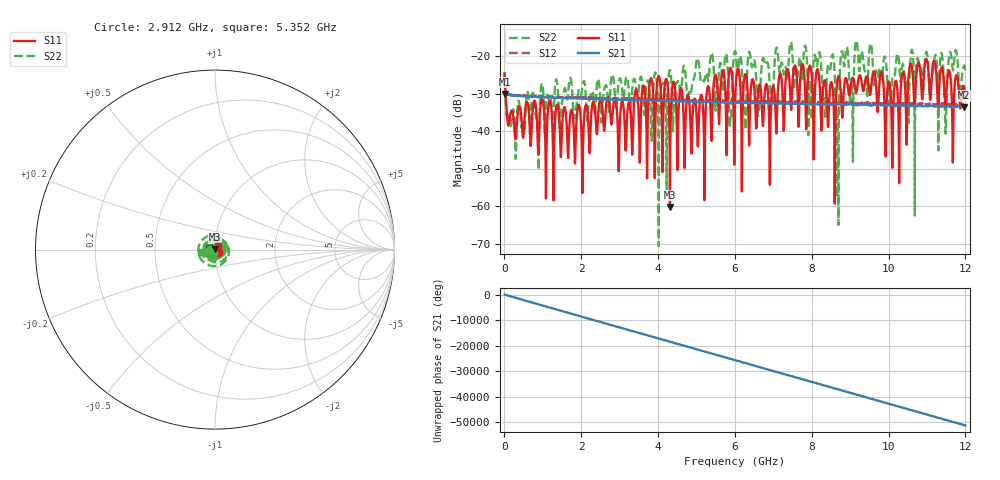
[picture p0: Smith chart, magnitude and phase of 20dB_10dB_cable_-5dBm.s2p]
!Keysight Technologies,N5242B,US61255121,A.15.50.07
!Date: Friday, October 24, 2025 17:39:20
!Correction: S11(Off)
!S21(Off)
!S12(Off)
!S22(Off)
!S2P File: Measurements: S11, S21, S12, S22:
# Hz S  dB  R 50
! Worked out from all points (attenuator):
!   11991 points, 10 MHz to 12 GHz, reference 50 ohm
!   highest |S21| = -30.09 dB at 10 MHz (marker M1); lowest = -33.6 dB at 11.97 GHz (marker M2)
!   lowest |S11| = -60.2 dB at 4.313 GHz (marker M3), VSWR 1.00, Z = 50 + j0.0916 ohm
!   |S11| at or under -10 dB: start of sweep to end of sweep
!   |S22| runs from -70.6 to -15.8 dB; largest |S21 - S12| = 0.059
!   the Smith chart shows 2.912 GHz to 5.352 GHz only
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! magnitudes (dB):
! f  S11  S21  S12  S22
! 10 MHz  -24.6  -30.1  -30.3  -24.6
! 863 MHz  -39.8  -30.9  -30.7  -37.7
! 979 MHz  -31.5  -30.9  -30.8  -27.2
! 2.009 GHz  -40.8  -31.3  -31.1  -30.1
! 4.007 GHz  -25.4  -31.9  -31.5  -37.9
! 4.313 GHz  -60.2  -31.9  -31.6  -23.7
! 5.77 GHz  -35.4  -32.4  -31.9  -19.3
! 5.885 GHz  -23.1  -32.5  -32.0  -36.5
! 6.005 GHz  -33.2  -32.4  -31.9  -18.6
! 6.255 GHz  -25.3  -32.4  -32.0  -34.4
! 6.385 GHz  -38.0  -32.4  -32.1  -18.9
! 6.615 GHz  -28.6  -32.5  -32.1  -35.4
! 7.087 GHz  -38.8  -32.6  -32.2  -17.7
! 8.004 GHz  -25.6  -32.8  -32.3  -36.2
! 8.541 GHz  -28.0  -32.9  -32.3  -19.5
! 8.667 GHz  -26.6  -32.8  -32.4  -34.0
! 8.783 GHz  -34.8  -32.9  -32.5  -18.6
! 9.036 GHz  -26.6  -32.9  -32.5  -27.1
! 9.164 GHz  -29.7  -33.1  -32.6  -15.8
! 10 GHz  -26.8  -33.1  -32.6  -31.4
! 11.97 GHz  -28.6  -33.6  -32.9  -22.4
! 12 GHz  -30.8  -33.6  -32.9  -24.0
